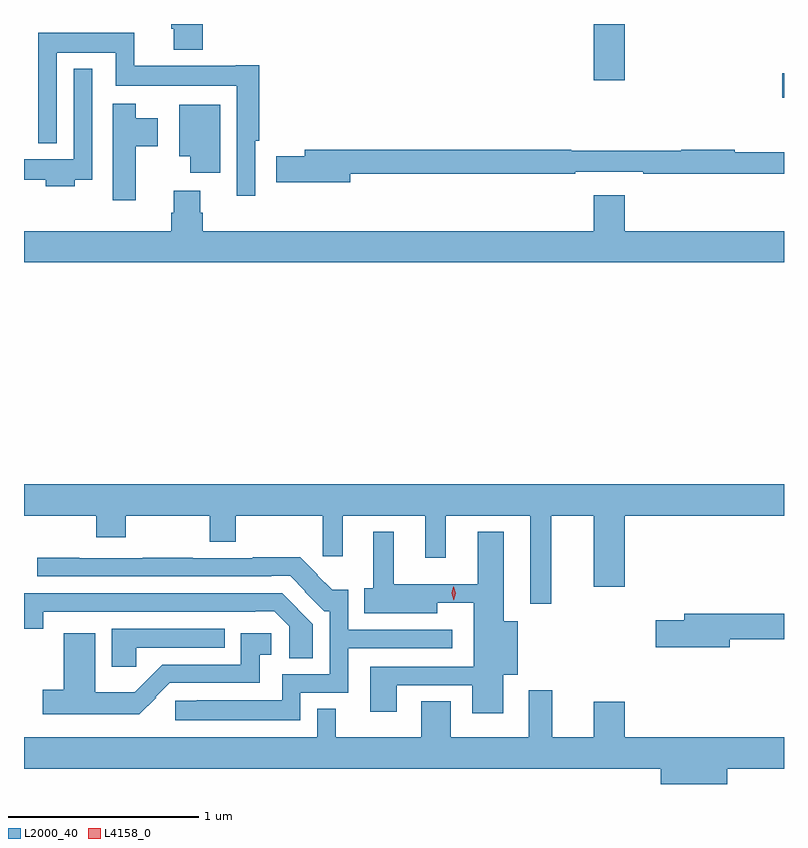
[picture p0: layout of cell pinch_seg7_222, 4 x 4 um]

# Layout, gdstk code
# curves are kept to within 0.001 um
import gdstk
lib = gdstk.Library(unit=1e-6, precision=1e-09)
def R(c, l, rs):  # rectangles x0, y0, x1, y1
    for r in rs: c.add(gdstk.rectangle(r[:2], r[2:], *l))
def P(c, l, *ps):  # polygons
    for p in ps: c.add(gdstk.Polygon(p, *l))
L2000_40 = (2000, 40)
L4158_0 = (4158, 0)

pinch_seg7_222 = lib.new_cell('pinch_seg7_222')
R(pinch_seg7_222, L2000_40, [(849.318,1073.411,849.326,1073.541), (848.324,1073.502,848.488,1073.799)])
P(pinch_seg7_222, L2000_40, [(846.266,1073.799),(846.101,1073.799),(846.101,1073.775),(846.113,1073.775),(846.113,1073.663),(846.266,1073.663)],
  [(846.543,1073.185),(846.563,1073.185),(846.563,1073.581),(846.44,1073.581),(846.44,1073.578),(845.906,1073.578),(845.906,1073.752),(845.402,1073.752),(845.402,1073.171),(845.499,1073.171),(845.499,1073.648),(845.808,1073.648),(845.808,1073.474),(846.447,1073.474),(846.447,1072.896),(846.543,1072.896)],
  [(845.593,1072.98),(845.685,1072.98),(845.685,1073.563),(845.589,1073.563),(845.589,1073.086),(845.326,1073.086),(845.326,1072.98),(845.441,1072.98),(845.441,1072.946),(845.593,1072.946)],
  [(845.914,1073.155),(846.031,1073.155),(846.031,1073.302),(845.914,1073.302),(845.914,1073.38),(845.792,1073.38),(845.792,1072.872),(845.914,1072.872)],
  [(846.358,1073.374),(846.143,1073.374),(846.143,1073.102),(846.2,1073.102),(846.2,1073.016),(846.358,1073.016)],
  [(847.042,1073.01),(848.228,1073.01),(848.228,1073.022),(848.584,1073.022),(848.584,1073.01),(849.326,1073.01),(849.326,1073.123),(849.066,1073.123),(849.066,1073.138),(848.786,1073.138),(848.786,1073.131),(848.207,1073.131),(848.207,1073.138),(846.803,1073.138),(846.803,1073.102),(846.654,1073.102),(846.654,1072.967),(847.042,1072.967)],
  [(849.326,1072.708),(848.488,1072.708),(848.488,1072.897),(848.324,1072.897),(848.324,1072.708),(846.266,1072.708),(846.266,1072.806),(846.253,1072.806),(846.253,1072.921),(846.113,1072.921),(846.113,1072.806),(846.101,1072.806),(846.101,1072.708),(845.326,1072.708),(845.326,1072.544),(849.326,1072.544)],
  [(848.101,1071.212),(848.324,1071.212),(848.324,1070.838),(848.488,1070.838),(848.488,1071.212),(849.326,1071.212),(849.326,1071.376),(845.326,1071.376),(845.326,1071.212),(845.707,1071.212),(845.707,1071.098),(845.862,1071.098),(845.862,1071.212),(846.304,1071.212),(846.304,1071.073),(846.441,1071.073),(846.441,1071.212),(846.898,1071.212),(846.898,1070.997),(847.003,1070.997),(847.003,1071.212),(847.439,1071.212),(847.439,1070.991),(847.546,1070.991),(847.546,1071.212),(847.991,1071.212),(847.991,1070.748),(848.101,1070.748)],
  [(847.849,1070.375),(847.924,1070.375),(847.924,1070.656),(847.852,1070.656),(847.852,1071.127),(847.715,1071.127),(847.715,1070.851),(847.273,1070.851),(847.273,1071.127),(847.163,1071.127),(847.163,1070.829),(847.117,1070.829),(847.117,1070.699),(847.501,1070.699),(847.501,1070.753),(847.694,1070.753),(847.694,1070.415),(847.148,1070.415),(847.148,1070.178),(847.288,1070.178),(847.288,1070.319),(847.685,1070.319),(847.685,1070.172),(847.849,1070.172)],
  [(846.78,1070.28),(847.032,1070.28),(847.032,1070.514),(847.579,1070.514),(847.579,1070.61),(847.032,1070.61),(847.032,1070.821),(846.948,1070.821),(846.87,1070.898),(846.873,1070.901),(846.781,1070.993),(846.529,1070.993),(846.529,1070.988),(846.215,1070.988),(846.215,1070.991),(845.95,1070.991),(845.95,1070.988),(845.618,1070.988),(845.618,1070.991),(845.397,1070.991),(845.397,1070.892),(846.626,1070.892),(846.626,1070.895),(846.726,1070.895),(846.807,1070.814),(846.804,1070.812),(846.906,1070.709),(846.936,1070.709),(846.936,1070.376),(846.684,1070.376),(846.684,1070.239),(846.123,1070.238),(846.123,1070.135),(846.78,1070.135)],
  [(846.847,1070.639),(846.765,1070.721),(846.766,1070.722),(846.685,1070.802),(845.326,1070.802),(845.326,1070.615),(845.428,1070.615),(845.428,1070.706),(846.542,1070.706),(846.542,1070.708),(846.643,1070.708),(846.723,1070.628),(846.723,1070.461),(846.847,1070.461)],
  [(849.04,1070.56),(849.326,1070.56),(849.326,1070.696),(848.801,1070.696),(848.801,1070.66),(848.652,1070.66),(848.652,1070.518),(849.04,1070.518)],
  [(845.918,1070.516),(846.382,1070.516),(846.382,1070.617),(845.789,1070.617),(845.789,1070.415),(845.918,1070.415)],
  [(846.021,1070.253),(846.018,1070.256),(846.093,1070.331),(846.568,1070.331),(846.568,1070.48),(846.628,1070.48),(846.628,1070.593),(846.467,1070.593),(846.467,1070.427),(846.053,1070.427),(845.909,1070.283),(845.701,1070.283),(845.701,1070.593),(845.534,1070.593),(845.534,1070.295),(845.424,1070.295),(845.424,1070.165),(845.933,1070.165)],
  [(849.028,1069.88),(849.326,1069.88),(849.326,1070.044),(848.488,1070.044),(848.488,1070.233),(848.324,1070.233),(848.324,1070.044),(848.107,1070.044),(848.107,1070.293),(847.982,1070.293),(847.982,1070.044),(847.573,1070.044),(847.573,1070.234),(847.418,1070.234),(847.418,1070.044),(846.968,1070.044),(846.968,1070.195),(846.87,1070.195),(846.87,1070.044),(845.326,1070.044),(845.326,1069.88),(848.678,1069.88),(848.678,1069.799),(849.028,1069.799)])
P(pinch_seg7_222, L4158_0, [(847.589,1070.766),(847.589,1070.766),(847.578,1070.802),(847.586,1070.838),(847.586,1070.838),(847.587,1070.838),(847.598,1070.802),(847.589,1070.766)])

lib.write_gds('pinch_seg7_222.gds')
